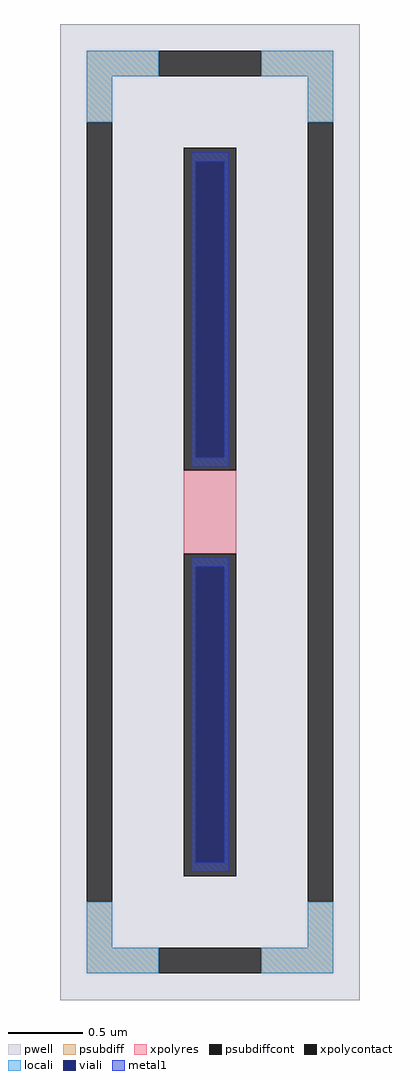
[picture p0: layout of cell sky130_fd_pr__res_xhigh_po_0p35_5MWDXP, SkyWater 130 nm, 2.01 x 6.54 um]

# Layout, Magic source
magic
tech sky130A
magscale 1 2
<< pwell >>
rect -201 -654 201 654
<< psubdiff >>
rect -165 584 -69 618
rect 69 584 165 618
rect -165 522 -131 584
rect 131 522 165 584
rect -165 -584 -131 -522
rect 131 -584 165 -522
rect -165 -618 -69 -584
rect 69 -618 165 -584
<< psubdiffcont >>
rect -69 584 69 618
rect -165 -522 -131 522
rect 131 -522 165 522
rect -69 -618 69 -584
<< xpolycontact >>
rect -35 56 35 488
rect -35 -488 35 -56
<< xpolyres >>
rect -35 -56 35 56
<< locali >>
rect -165 584 -69 618
rect 69 584 165 618
rect -165 522 -131 584
rect 131 522 165 584
rect -165 -584 -131 -522
rect 131 -584 165 -522
rect -165 -618 -69 -584
rect 69 -618 165 -584
<< viali >>
rect -19 73 19 470
rect -19 -470 19 -73
<< metal1 >>
rect -25 470 25 482
rect -25 73 -19 470
rect 19 73 25 470
rect -25 61 25 73
rect -25 -73 25 -61
rect -25 -470 -19 -73
rect 19 -470 25 -73
rect -25 -482 25 -470
<< properties >>
string FIXED_BBOX -148 -601 148 601
string gencell sky130_fd_pr__res_xhigh_po_0p35
string library sky130
string parameters w 0.350 l 0.718 m 1 nx 1 wmin 0.350 lmin 0.50 rho 2000 val 5.178k dummy 0 dw 0.0 term 188.2 sterm 0.0 caplen 0 wmax 0.350 guard 1 glc 1 grc 1 gtc 1 gbc 1 compatible {sky130_fd_pr__res_xhigh_po_0p35  sky130_fd_pr__res_xhigh_po_0p69 sky130_fd_pr__res_xhigh_po_1p41  sky130_fd_pr__res_xhigh_po_2p85 sky130_fd_pr__res_xhigh_po_5p73} snake 0 full_metal 1 n_guard 0 hv_guard 0 vias 1 viagb 0 viagt 0 viagl 0 viagr 0
<< end >>
